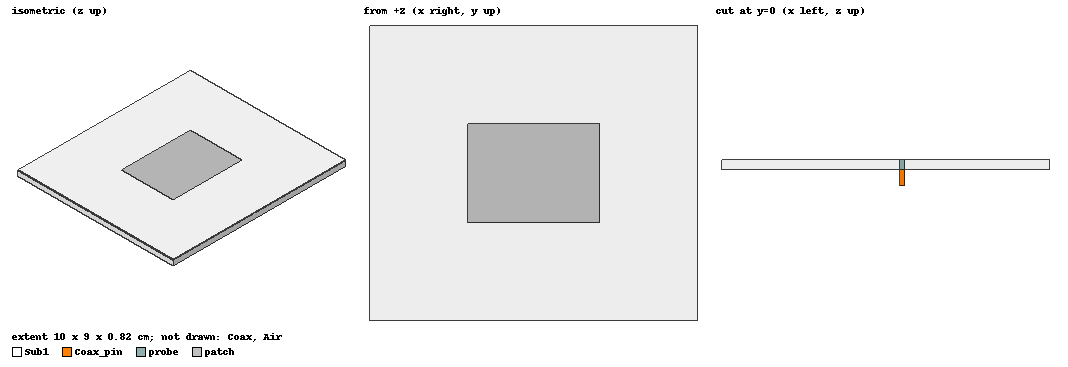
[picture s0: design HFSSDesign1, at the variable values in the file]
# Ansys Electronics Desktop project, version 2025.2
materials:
  vacuum: permittivity=1
  Rogers RT/duroid 5880 (tm): permittivity=2.2 dielectric_loss_tangent=0.0009
  pec: conductivity=1e+30

design HFSSDesign1 (HFSS, HFSS Terminal Network, model units cm)
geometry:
  Sub1 [Rogers RT/duroid 5880 (tm)] = box(corner=(-5cm, -4.5cm, 0cm), size=(10cm, 9cm, 0.32cm))
  Inf_GND [Rogers RT/duroid 5880 (tm)] = rectangle(corner=(-5cm, -4.5cm, 0cm), x_size=10cm, y_size=9cm)
  Cut_out = circle(normal=Z, centre=(-0.5cm, 0cm, 0cm), radius=0.16cm)
  Inf_GND.subtract(Cut_out)
  patch [Rogers RT/duroid 5880 (tm)] = rectangle(corner=(-2cm, -1.5cm, 0.32cm), x_size=4cm, y_size=3cm)
  Coax [vacuum] = cylinder(axis=Z, base_centre=(-0.5cm, 0cm, 0cm), radius=0.16cm, height=-0.5cm)
  Coax_pin [pec] = cylinder(axis=Z, base_centre=(-0.5cm, 0cm, 0cm), radius=0.07cm, height=-0.5cm)
  port1 [pec] = circle(normal=Z, centre=(-0.5cm, 0cm, -0.5cm), radius=0.16cm)
  probe [pec] = cylinder(axis=Z, base_centre=(-0.5cm, 0cm, 0cm), radius=0.07cm, height=0.32cm)
  Air [vacuum] = box(corner=(-5cm, -4.5cm, 0cm), size=(10cm, 9cm, 3.32cm))
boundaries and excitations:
  PerfE1_Inf_GND: Perfect E Objects=Inf_GND InfGroundPlane
  PerfE1_patch: Perfect E Objects=patch
  Rad1: Radiation Faces=Air.face(-y, +z, +x)
  1: Wave Port Objects=port1 WavePortType=Modal NumModes=1 Modes{Mode1{CharImp=Zpi}}
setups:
  Setup1: HfssDriven Frequency=2.4GHz MaxDeltaS=0.02 MaximumPasses=20 MinimumPasses=1 MinimumConvergedPasses=1 PercentRefinement=30 BasisOrder=2 PortAccuracy=2 DrivenSolverType="Iterative Solver" IterativeResidual=1e-06 DDMSolverResidual=0.0001
    sweep Sweep: 1GHz to 3.5GHz, 201 points; Type=Fast SaveFields
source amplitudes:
  1:1: 1V 0deg
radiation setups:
  ff_2d: Infinite Sphere Theta=-180deg..180deg step 2deg Phi=0deg..90deg step 90deg
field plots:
  Mag_E1: E Field over patch.face on Setup1 : LastAdaptive at Freq=2.4GHz Phase=0deg
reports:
  Terminal S Parameter Plot1: dB(St(1,1)) vs Freq on Setup1 : Sweep; markers m1 at 2.375GHz
  Gain Plot1: dB(GainTotal) vs Theta on Setup1 : LastAdaptive, ff_2d [Phi=all Freq=2.4GHz]
  Terminal VSWR Plot1: VSWRt(1) vs Freq on Setup1 : Sweep
